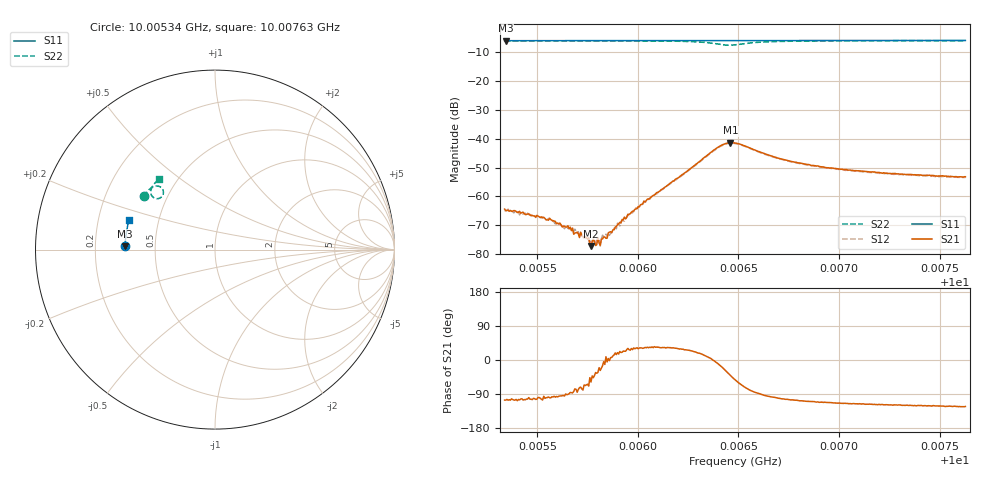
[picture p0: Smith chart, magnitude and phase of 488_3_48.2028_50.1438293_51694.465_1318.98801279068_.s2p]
#  HZ  S  RI  R  50.00
! Rohde & Schwarz Vector Network Analyzer
! Rohde-Schwarz,ZNB20-2Port,1311601062101988,3.16
! Created: UTC 3/20/2024, 11:57:57 AM
! freq[Hz]  re:S11  im:S11  re:S21  im:S21  re:S12  im:S12  re:S22  im:S22
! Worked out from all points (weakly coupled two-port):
!   401 points, 10.00534 GHz to 10.00763 GHz, reference 50 ohm
!   highest |S21| = -41.33 dB at 10.00646 GHz (marker M1); lowest = -77.1 dB at 10.00577 GHz (marker M2)
!   lowest |S11| = -6.0 dB at 10.00534 GHz (marker M3), VSWR 3.01, Z = 16.6 + j0.854 ohm
!   |S11| at or under -10 dB: nowhere
!   |S22| runs from -7.6 to -6.0 dB; largest |S21 - S12| = 0.00052
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1.0005337e10  -0.5004 0.0189  -0.000165 -0.000582  -0.000158 -0.000544  -0.3972 0.2969
1.0005343e10  -0.5003 0.0192  -0.000156 -0.00055  -0.0001 -0.000554  -0.3968 0.2972
1.0005463e10  -0.5003 0.0272  -0.000109 -0.000466  -5.18e-05 -0.000485  -0.3919 0.3044
1.0005572e10  -0.5001 0.0342  -4.82e-05 -0.000385  -3.69e-05 -0.000367  -0.3873 0.3109
1.0005664e10  -0.4997 0.0402  2.21e-05 -0.000292  7.51e-06 -0.000293  -0.3828 0.3163
1.0005692e10  -0.4998 0.0419  5.11e-05 -0.000229  4.09e-05 -0.000247  -0.3814 0.3181
1.0005721e10  -0.4997 0.0439  5.25e-05 -0.000211  9.11e-05 -0.000209  -0.3799 0.3199
1.0005767e10  -0.4995 0.0469  7.38e-05 -0.000118  0.000115 -0.000125  -0.3775 0.3229
1.0005801e10  -0.4993 0.049  0.000163 -0.000106  0.000175 -9e-05  -0.3757 0.3249
1.0005824e10  -0.4993 0.0505  0.000177 -4.81e-05  0.000204 -6.51e-05  -0.3744 0.3265
1.000583e10  -0.4992 0.051  0.000198 -1.54e-05  0.000202 -2.46e-05  -0.3741 0.3268
1.0005858e10  -0.4992 0.0528  0.000241 -6.64e-06  0.000213 1.49e-05  -0.3724 0.3286
1.0005962e10  -0.4985 0.0594  0.000452 0.000218  0.00041 0.000276  -0.3657 0.3354
1.0006105e10  -0.4977 0.0688  0.00102 0.000672  0.000994 0.000716  -0.3534 0.3453
1.0006385e10  -0.4946 0.0868  0.00661 -0.000537  0.00646 -0.000192  -0.2915 0.3348
1.0006426e10  -0.4942 0.0891  0.0074 -0.00305  0.00739 -0.00263  -0.2883 0.3108
1.000646e10  -0.494 0.0911  0.00651 -0.00559  0.00667 -0.00512  -0.3007 0.291
1.0006483e10  -0.4938 0.0923  0.00518 -0.00669  0.00545 -0.00625  -0.3144 0.2844
1.0006701e10  -0.492 0.1063  -0.000888 -0.00451  -0.000615 -0.0045  -0.3576 0.3287
1.0006867e10  -0.4901 0.1169  -0.00115 -0.00325  -0.001 -0.00328  -0.3504 0.3489
1.0007251e10  -0.4846 0.141  -0.0012 -0.00221  -0.00108 -0.0022  -0.3301 0.3756
1.0007629e10  -0.4779 0.1645  -0.00119 -0.00185  -0.00106 -0.00184  -0.3106 0.3948
